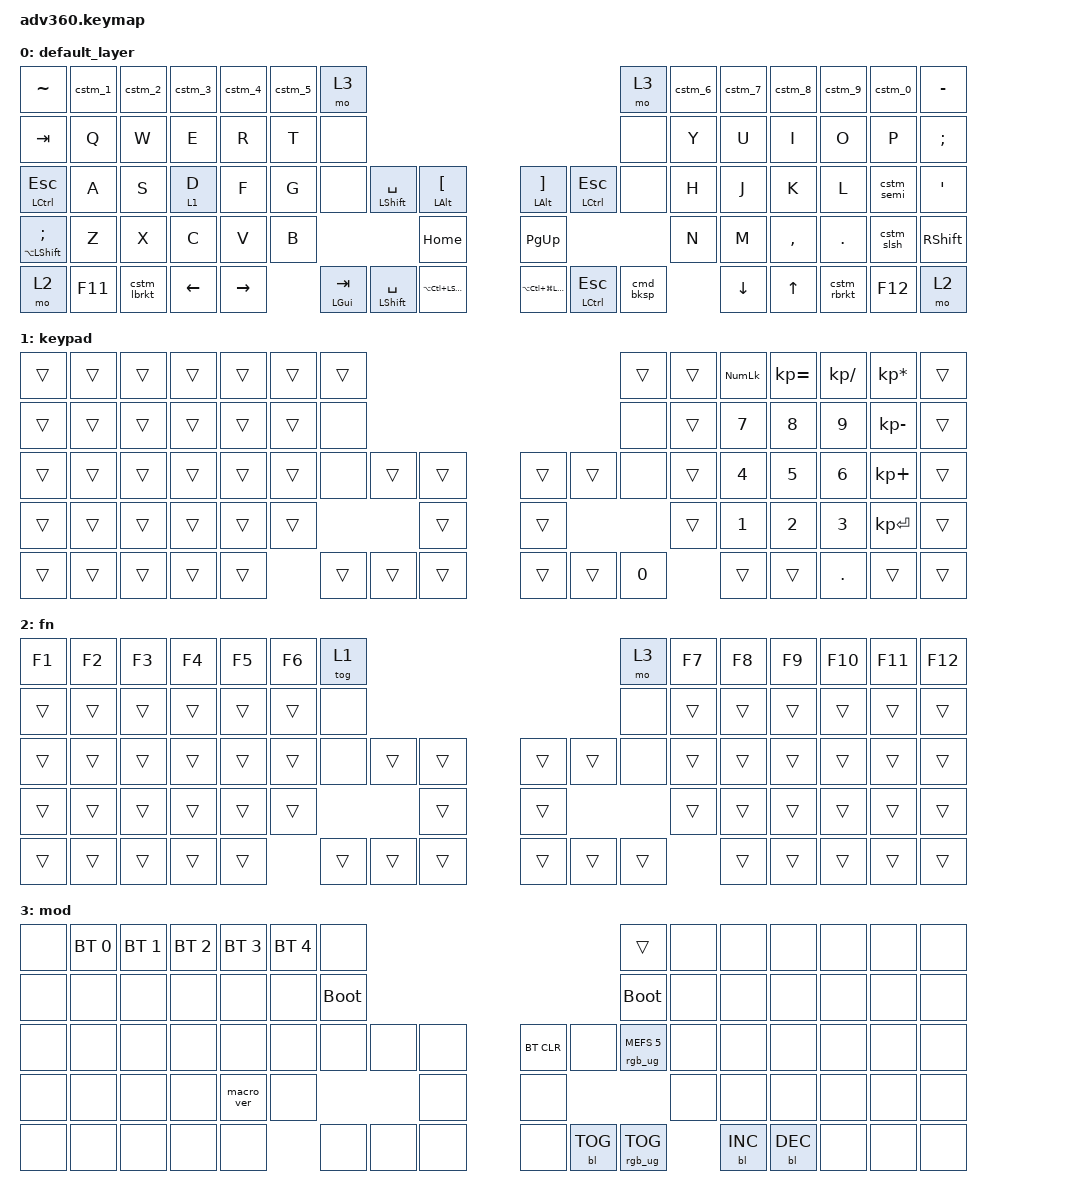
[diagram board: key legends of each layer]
#include <behaviors.dtsi>
#include <dt-bindings/zmk/backlight.h>
#include <dt-bindings/zmk/bt.h>
#include <dt-bindings/zmk/keys.h>
#include <dt-bindings/zmk/rgb.h>

&mt { flavor = "tap-preferred"; };

/ {
    behaviors {
        #include "macros.dtsi"
      #include "version.dtsi"
      #ifndef VERSION_MACRO

        macro_ver: macro_ver {
            compatible = "zmk,behavior-macro";
            label = "macro_version";
            #binding-cells = <0>;
            bindings = <&kp RET>;
        };

        #endif

        hm: homerow_mods {
            compatible = "zmk,behavior-hold-tap";
            label = "HOMEROW_MODS";
            #binding-cells = <2>;
            tapping-term-ms = <200>;
            quick_tap_ms = <175>;
            flavor = "tap-preferred";
            bindings = <&kp>, <&kp>;
        };

        cmd_bksp: cmd_bksp {
            compatible = "zmk,behavior-mod-morph";
            label = "CMD_BKSP";
            bindings = <&mt RIGHT_COMMAND BACKSPACE>, <&kp BSPC>;

            #binding-cells = <0>;
            mods = <(MOD_RSFT|MOD_LSFT)>;
        };

        cstm_1: cstm_1 {
            compatible = "zmk,behavior-mod-morph";
            label = "1 => & or |";
            bindings = <&kp AMPS>, <&kp PIPE>;

            #binding-cells = <0>;
            mods = <(MOD_RSFT|MOD_LSFT)>;
        };

        cstm_2: cstm_2 {
            compatible = "zmk,behavior-mod-morph";
            label = "2 => ( or @";
            bindings = <&kp LPAR>, <&kp AT>;

            #binding-cells = <0>;
            mods = <(MOD_RSFT|MOD_LSFT)>;
        };

        cstm_3: cstm_3 {
            compatible = "zmk,behavior-mod-morph";
            label = "CSTM_3";
            bindings = <&kp LEFT_BRACE>, <&kp UNDER>;

            #binding-cells = <0>;
            mods = <(MOD_RSFT|MOD_LSFT)>;
        };

        cstm_4: cstm_4 {
            compatible = "zmk,behavior-mod-morph";
            label = "CSTM_4";
            bindings = <&kp LBKT>, <&kp DLLR>;

            #binding-cells = <0>;
            mods = <(MOD_RSFT|MOD_LSFT)>;
        };

        cstm_5: cstm_5 {
            compatible = "zmk,behavior-mod-morph";
            label = "CSTM_5";
            bindings = <&kp EQUAL>, <&kp PRCNT>;

            #binding-cells = <0>;
            mods = <(MOD_RSFT|MOD_LSFT)>;
        };

        cstm_6: cstm_6 {
            compatible = "zmk,behavior-mod-morph";
            label = "CSTM_6";
            bindings = <&kp MINUS>, <&kp PLUS>;

            #binding-cells = <0>;
            mods = <(MOD_RSFT|MOD_LSFT)>;
        };

        cstm_7: cstm_7 {
            compatible = "zmk,behavior-mod-morph";
            label = "CSTM_7";
            bindings = <&kp RIGHT_BRACKET>, <&kp GRAVE>;

            #binding-cells = <0>;
            mods = <(MOD_RSFT|MOD_LSFT)>;
        };

        cstm_8: cstm_8 {
            compatible = "zmk,behavior-mod-morph";
            label = "CSTM_8";
            bindings = <&kp RBRC>, <&kp ASTRK>;

            #binding-cells = <0>;
            mods = <(MOD_RSFT|MOD_LSFT)>;
        };

        cstm_9: cstm_9 {
            compatible = "zmk,behavior-mod-morph";
            label = "CSTM_9";
            bindings = <&kp RPAR>, <&kp GRAVE>;

            #binding-cells = <0>;
            mods = <(MOD_RSFT|MOD_LSFT)>;
        };

        cstm_0: cstm_0 {
            compatible = "zmk,behavior-mod-morph";
            label = "CSTM_0";
            bindings = <&kp UNDER>, <&kp CARET>;

            #binding-cells = <0>;
            mods = <(MOD_RSFT|MOD_LSFT)>;
        };

        cstm_lbrkt: cstm_lbrkt {
            compatible = "zmk,behavior-mod-morph";
            label = "CSTM_LBRKT";
            bindings = <&kp DQT>, <&kp HASH>;

            #binding-cells = <0>;
            mods = <(MOD_RSFT|MOD_LSFT)>;
        };

        cstm_rbrkt: cstm_rbrkt {
            compatible = "zmk,behavior-mod-morph";
            label = "CSTM_RBRKT";
            bindings = <&kp QMARK>, <&kp EXCL>;

            #binding-cells = <0>;
            mods = <(MOD_RSFT|MOD_LSFT)>;
        };

        cstm_slsh: cstm_slsh {
            compatible = "zmk,behavior-mod-morph";
            label = "CSTM_SLSH";
            bindings = <&mt LG(LA(LEFT_SHIFT)) SLASH>, <&kp BSLH>;

            #binding-cells = <0>;
            mods = <(MOD_RSFT|MOD_LSFT)>;
        };

        cstm_semi: cstm_semi {
            compatible = "zmk,behavior-mod-morph";
            label = "CSTM_SEMI";
            bindings = <&kp COLON>, <&kp SEMI>;

            #binding-cells = <0>;
            mods = <(MOD_RSFT|MOD_LSFT)>;
        };
    };

    macros {
    };

    keymap {
        compatible = "zmk,keymap";

        default_layer {
            bindings = <
&kp TILDE                     &cstm_1  &cstm_2      &cstm_3   &cstm_4    &cstm_5  &mo 3                                                                                                  &mo 3      &cstm_6  &cstm_7         &cstm_8    &cstm_9      &cstm_0     &kp MINUS
&kp TAB                       &kp Q    &kp W        &kp E     &kp R      &kp T    &none                                                                                                  &none      &kp Y    &kp U           &kp I      &kp O        &kp P       &kp SEMI
&mt LCTRL ESC                 &kp A    &kp S        &lt 1 D   &kp F      &kp G    &none         &mt LSHFT SPACE   &mt LALT LBKT               &mt LALT RBKT               &mt LCTRL ESC  &none      &kp H    &kp J           &kp K      &kp L        &cstm_semi  &kp SQT
&mt LA(LEFT_SHIFT) SEMICOLON  &kp Z    &kp X        &kp C     &kp V      &kp B                                    &kp HOME                    &kp PG_UP                                             &kp N    &kp M           &kp COMMA  &kp DOT      &cstm_slsh  &kp RSHFT
&mo 2                         &kp F11  &cstm_lbrkt  &kp LEFT  &kp RIGHT           &mt LGUI TAB  &mt LSHIFT SPACE  &kp LA(LC(LEFT_SHIFT))      &kp LA(LC(LG(LEFT_SHIFT)))  &mt LCTRL ESC  &cmd_bksp           &kp DOWN_ARROW  &kp UP     &cstm_rbrkt  &kp F12     &mo 2
            >;
        };

        keypad {
            bindings = <
&trans  &trans  &trans  &trans  &trans  &trans  &trans                                      &trans  &trans  &kp KP_NUM  &kp KP_EQUAL  &kp KP_DIVIDE  &kp KP_MULTIPLY  &trans
&trans  &trans  &trans  &trans  &trans  &trans  &none                                       &none   &trans  &kp N7      &kp N8        &kp N9         &kp KP_MINUS     &trans
&trans  &trans  &trans  &trans  &trans  &trans  &none   &trans  &trans      &trans  &trans  &none   &trans  &kp N4      &kp N5        &kp N6         &kp KP_PLUS      &trans
&trans  &trans  &trans  &trans  &trans  &trans                  &trans      &trans                  &trans  &kp N1      &kp N2        &kp N3         &kp KP_ENTER     &trans
&trans  &trans  &trans  &trans  &trans          &trans  &trans  &trans      &trans  &trans  &kp N0          &trans      &trans        &kp DOT        &trans           &trans
            >;
        };

        fn {
            bindings = <
&kp F1  &kp F2  &kp F3  &kp F4  &kp F5  &kp F6  &tog 1                                      &mo 3   &kp F7  &kp F8  &kp F9  &kp F10  &kp F11  &kp F12
&trans  &trans  &trans  &trans  &trans  &trans  &none                                       &none   &trans  &trans  &trans  &trans   &trans   &trans
&trans  &trans  &trans  &trans  &trans  &trans  &none   &trans  &trans      &trans  &trans  &none   &trans  &trans  &trans  &trans   &trans   &trans
&trans  &trans  &trans  &trans  &trans  &trans                  &trans      &trans                  &trans  &trans  &trans  &trans   &trans   &trans
&trans  &trans  &trans  &trans  &trans          &trans  &trans  &trans      &trans  &trans  &trans          &trans  &trans  &trans   &trans   &trans
            >;
        };

        mod {
            bindings = <
&none  &bt BT_SEL 0  &bt BT_SEL 1  &bt BT_SEL 2  &bt BT_SEL 3  &bt BT_SEL 4  &none                                                  &trans                  &none  &none       &none       &none  &none  &none
&none  &none         &none         &none         &none         &none         &bootloader                                            &bootloader             &none  &none       &none       &none  &none  &none
&none  &none         &none         &none         &none         &none         &none        &none  &none      &bt BT_CLR  &none       &rgb_ug RGB_MEFS_CMD 5  &none  &none       &none       &none  &none  &none
&none  &none         &none         &none         &macro_ver    &none                             &none      &none                                           &none  &none       &none       &none  &none  &none
&none  &none         &none         &none         &none                       &none        &none  &none      &none       &bl BL_TOG  &rgb_ug RGB_TOG                &bl BL_INC  &bl BL_DEC  &none  &none  &none
            >;
        };
    };
};
